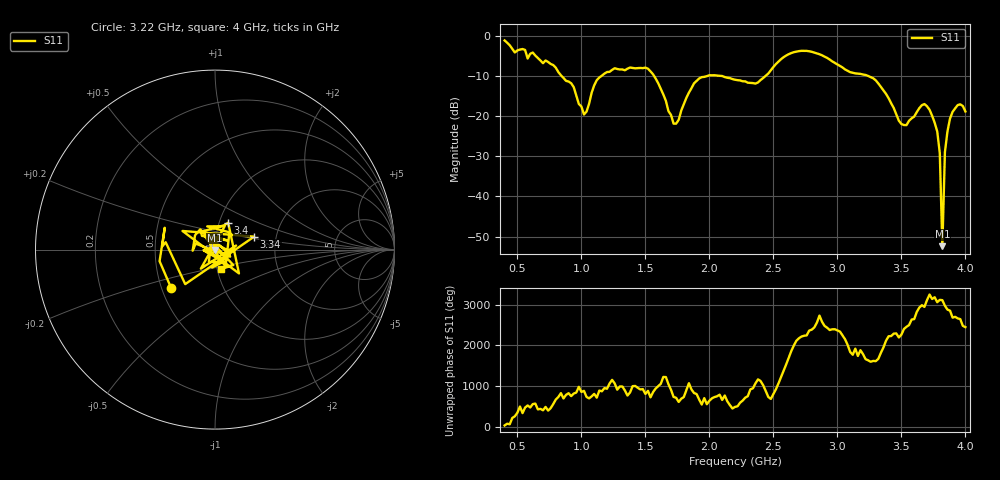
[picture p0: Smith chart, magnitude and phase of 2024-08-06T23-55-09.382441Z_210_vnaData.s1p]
!Created with skrf (http://scikit-rf.org).
# Hz S RI R 50.0
!freq ReS11 ImS11
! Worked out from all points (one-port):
!   181 points, 400 MHz to 4 GHz, reference 50 ohm
!   lowest |S11| = -52.4 dB at 3.82 GHz (marker M1), VSWR 1.00, Z = 49.9 - j0.19 ohm
!   |S11| at or under -10 dB: 1.567 GHz to 1.986 GHz (419.2 MHz wide, 23.6 % of centre); 2.086 GHz to 2.439 GHz (353.2 MHz wide, 15.6 % of centre); 3.238 GHz to end of sweep (the widest 3 of 4)
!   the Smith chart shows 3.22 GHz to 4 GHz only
!   S11 on the Smith chart (normalised r, x): 3.22 GHz: 0.56, -0.27; 3.34 GHz: 1.54, +0.23; 3.4 GHz: 1.10, +0.34; 4 GHz: 1.05, -0.23
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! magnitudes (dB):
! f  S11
! 400 MHz  -1.2
! 860 MHz  -10.5
! 940 MHz  -12.8
! 1.02 GHz  -19.6
! 1.12 GHz  -11.1
! 1.3 GHz  -8.4
! 1.52 GHz  -8.2
! 1.6 GHz  -11.8
! 1.72 GHz  -21.9
! 1.76 GHz  -21.0
! 1.92 GHz  -10.6
! 2.2 GHz  -11.0
! 2.36 GHz  -11.9
! 2.66 GHz  -4.1
! 3.1 GHz  -9.1
! 3.22 GHz  -9.8
! 3.34 GHz  -12.8
! 3.4 GHz  -15.6
! 3.5 GHz  -22.0
! 3.56 GHz  -21.2
! 3.68 GHz  -17.0
! 3.78 GHz  -23.8
! 3.8 GHz  -29.2
! 3.82 GHz  -52.4
! 3.84 GHz  -29.0
! 3.86 GHz  -23.8
! 3.94 GHz  -17.3
! 4 GHz  -18.9
